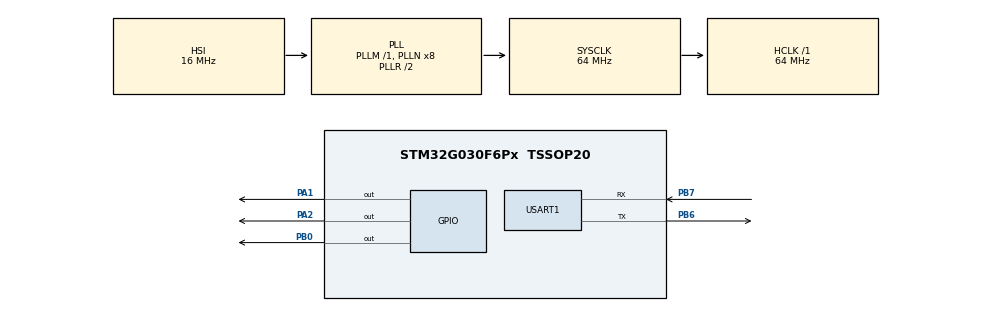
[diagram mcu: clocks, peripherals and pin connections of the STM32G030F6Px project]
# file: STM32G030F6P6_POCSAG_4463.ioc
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Mcu.Family=STM32G0
Mcu.Name=STM32G030F6Px
Mcu.Package=TSSOP20
NVIC.TIM16_IRQn=true\:0\:0\:false\:false\:true\:true\:true\:true
NVIC.TIM17_IRQn=true\:0\:0\:false\:false\:true\:true\:true\:true
NVIC.USART1_IRQn=true\:0\:0\:false\:false\:true\:true\:true\:true
PA1.Signal=GPIO_Output
PA13.Mode=Serial_Wire
PA13.Signal=SYS_SWDIO
PA14-BOOT0.Mode=Serial_Wire
PA14-BOOT0.Signal=SYS_SWCLK
PA14-BOOT0__PA15.StandardMode=true
PA2.Signal=GPIO_Output
PB0.PinState=GPIO_PIN_SET
PB0.Signal=GPIO_Output
PB0__PB1__PB2__PA8.StandardMode=true
PB3__PB4__PB5__PB6.StandardMode=true
PB6.Mode=Asynchronous
PB6.Signal=USART1_TX
PB7.Mode=Asynchronous
PB7.Signal=USART1_RX
PB7__PB8.StandardMode=true
PC14-OSC32_IN\ (PC14)__PB9.StandardMode=true
ProjectManager.HeapSize=0x200
ProjectManager.StackSize=0x400
ProjectManager.TargetToolchain=Makefile
RCC.ADCFreq_Value=64000000
RCC.AHBFreq_Value=64000000
RCC.CortexFreq_Value=64000000
RCC.EXTERNAL_CLOCK_VALUE=12288000
RCC.HCLKFreq_Value=64000000
RCC.HSE_VALUE=8000000
RCC.HSI_VALUE=16000000
RCC.LSE_VALUE=32768
RCC.SYSCLKFreq_VALUE=64000000
RCC.SYSCLKSource=RCC_SYSCLKSOURCE_PLLCLK
RCC.VCOOutputFreq_Value=128000000
TIM16.Prescaler=64-1
TIM17.Prescaler=64-1
USART1.VirtualMode-Asynchronous=VM_ASYNC
VP_TIM16_VS_ClockSourceINT.Mode=Enable_Timer
VP_TIM17_VS_ClockSourceINT.Mode=Enable_Timer
board=custom

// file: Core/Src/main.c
/* USER CODE BEGIN Header */
/**
  ******************************************************************************
  * @file           : main.c
  * @brief          : Main program body
  ******************************************************************************
  * @attention
  *
  * Copyright (c) 2022 STMicroelectronics.
  * All rights reserved.
  *
  * This software is licensed under terms that can be found in the LICENSE file
  * in the root directory of this software component.
  * If no LICENSE file comes with this software, it is provided AS-IS.
  *
  ******************************************************************************
  */
/* USER CODE END Header */
#include "main.h"
#include "tim.h"
#include "usart.h"
#include "gpio.h"

/* USER CODE BEGIN Includes */
#include <pocsagAudio.h>
//#include <stdio.h>
/* USER CODE END Includes */

/* USER CODE BEGIN PV */
extern uint32_t TxBuff[TXBUFF_SIZE];//TX发�?�缓冲区
extern uint8_t Tx_Num;//地址码发射次�???
extern uint8_t beep;//功能位，1�???2�???3�???4
extern uint8_t UartBuff[UARTBUFF_SIZE];//串口缓冲�???
extern uint16_t UartCount;//串口接收计数
extern uint8_t UartTmp;
extern uint8_t NewData;
extern uint8_t TM0_FLAG;
extern uint8_t SBUF;
extern uint8_t TI;
extern uint16_t Timer_Counter;
/* USER CODE END PV */

void SystemClock_Config(void);

int main(void)
{

  /* MCU Configuration--------------------------------------------------------*/

  /* Reset of all peripherals, Initializes the Flash interface and the Systick. */
  HAL_Init();

  /* Configure the system clock */
  SystemClock_Config();

  /* Initialize all configured peripherals */
  MX_GPIO_Init();
  MX_USART1_UART_Init();
  MX_TIM17_Init();
  MX_TIM16_Init();
  /* USER CODE BEGIN 2 */

  UartInit();
  Timer16Init();

  HAL_GPIO_WritePin(TX_PORT,TX_PIN,GPIO_PIN_RESET);
  HAL_GPIO_WritePin(PTT_PORT,PTT_PIN,GPIO_PIN_SET);

    printf("Welcome Use Pager System!");
  /* USER CODE END 2 */

  /* Infinite loop */
  /* USER CODE BEGIN WHILE */
  while (1)
  {
     if(NewData == 1 && (UartBuff[TEXT_OR_NUM] == 'N' || UartBuff[TEXT_OR_NUM] == 'T'))
        {
            GetAddrNumber();//获取地址码及功能
            if(UartBuff[TEXT_OR_NUM] == 'N')
                calc_NumberData();//计算数字数据
            if(UartBuff[TEXT_OR_NUM] == 'T')
                calc_TextData();//计算文字数据
            SendTxBuff();//发�?�数�?
            Empty_Buff();//清空TX发�?�缓冲区和串口接收缓冲区
            NewData = 0;
        }
    /* USER CODE END WHILE */

  }
}

void SystemClock_Config(void)
{
  RCC_OscInitTypeDef RCC_OscInitStruct = {0};
  RCC_ClkInitTypeDef RCC_ClkInitStruct = {0};

  /** Configure the main internal regulator output voltage
  */
  HAL_PWREx_ControlVoltageScaling(PWR_REGULATOR_VOLTAGE_SCALE1);

  /** Initializes the RCC Oscillators according to the specified parameters
  * in the RCC_OscInitTypeDef structure.
  */
  RCC_OscInitStruct.OscillatorType = RCC_OSCILLATORTYPE_HSI;
  RCC_OscInitStruct.HSIState = RCC_HSI_ON;
  RCC_OscInitStruct.HSIDiv = RCC_HSI_DIV1;
  RCC_OscInitStruct.HSICalibrationValue = RCC_HSICALIBRATION_DEFAULT;
  RCC_OscInitStruct.PLL.PLLState = RCC_PLL_ON;
  RCC_OscInitStruct.PLL.PLLSource = RCC_PLLSOURCE_HSI;
  RCC_OscInitStruct.PLL.PLLM = RCC_PLLM_DIV1;
  RCC_OscInitStruct.PLL.PLLN = 8;
  RCC_OscInitStruct.PLL.PLLP = RCC_PLLP_DIV2;
  RCC_OscInitStruct.PLL.PLLR = RCC_PLLR_DIV2;
  if (HAL_RCC_OscConfig(&RCC_OscInitStruct) != HAL_OK)
  {
    Error_Handler();
  }

  /** Initializes the CPU, AHB and APB buses clocks
  */
  RCC_ClkInitStruct.ClockType = RCC_CLOCKTYPE_HCLK|RCC_CLOCKTYPE_SYSCLK
                              |RCC_CLOCKTYPE_PCLK1;
  RCC_ClkInitStruct.SYSCLKSource = RCC_SYSCLKSOURCE_PLLCLK;
  RCC_ClkInitStruct.AHBCLKDivider = RCC_SYSCLK_DIV1;
  RCC_ClkInitStruct.APB1CLKDivider = RCC_HCLK_DIV1;

  if (HAL_RCC_ClockConfig(&RCC_ClkInitStruct, FLASH_LATENCY_2) != HAL_OK)
  {
    Error_Handler();
  }
}

void Error_Handler(void)
{
  __disable_irq();
  while (1)
  {
  }
}
